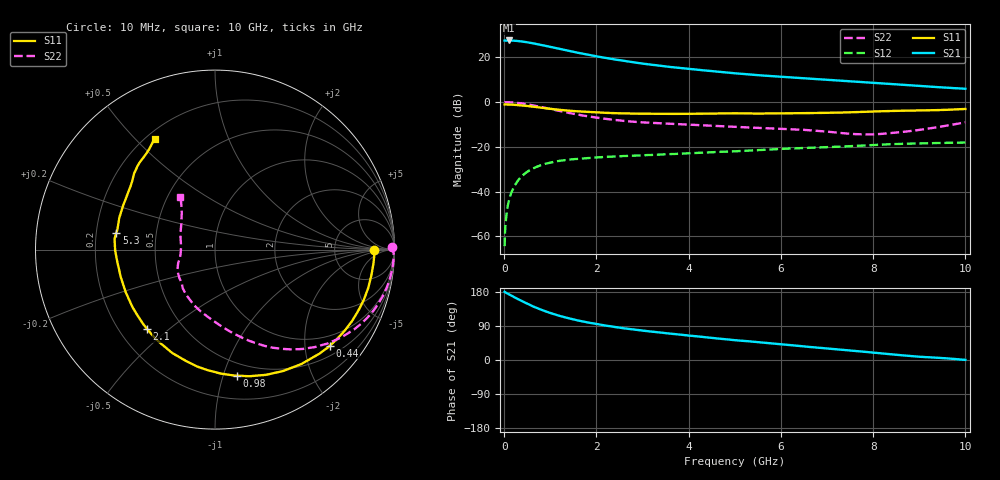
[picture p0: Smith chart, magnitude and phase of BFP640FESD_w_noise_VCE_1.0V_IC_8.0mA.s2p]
! Infineon Technologies  Discrete & RF Semiconductors
! BFP640FESD
! VCE =  1.0 V,  IC =  8.0 mA
! Common Emitter S-Parameters:  Jan 2016
# GHz  S  MA  R  50
!  f  S11  S21  S12  S22
! GHz  MAG  ANG  MAG  ANG  MAG  ANG  MAG  ANG
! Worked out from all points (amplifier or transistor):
!   233 points, 10 MHz to 10 GHz, reference 50 ohm
!   highest |S21| = 27.6 dB at 100 MHz (marker M1)
!   |S21| within 3 dB of that: start of sweep to 1.03 GHz
!   unconditionally stable (mu >= 1): 5.388 GHz to end of sweep
!   at 200 MHz: K = 0.03, MSG = 33.0 dB, |S12| = -38.5 dB
!   at 1.74 GHz: K = 0.42, MSG = 23.3 dB, |S12| = -25.1 dB
!   at 10 GHz: K = 1.18, MAG = 9.5 dB, |S12| = -18.1 dB
!   lowest NFmin = 0.62 dB at 450 MHz
!   S11 on the Smith chart (normalised r, x): 10 MHz: 16, -1; 440 MHz: 0.73, -2.57; 980 MHz: 0.39, -1.11; 2.1 GHz: 0.32, -0.42; 5.3 GHz: 0.29, +0.08; 10 GHz: 0.23, +0.57
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0.01  0.8859 -0.3  23.82 179.9  0.0006 66.0  0.9838 1.0
0.03  0.8875 -2.8  23.81 178.2  0.0019 89.5  0.9955 -1.8
0.1  0.8829 -9.3  23.98 173.9  0.0061 85.1  0.994 -6.2
0.2  0.8751 -18.6  23.78 167.1  0.0119 80.2  0.9804 -12.4
0.26  0.8663 -24.0  23.44 163.0  0.0154 77.3  0.9681 -16.0
0.44  0.8347 -39.9  22.3 152.0  0.0248 69.0  0.9161 -26.4
0.6  0.7984 -53.1  20.95 142.7  0.0319 62.6  0.8574 -34.8
0.7  0.7754 -60.8  20.04 137.6  0.0357 58.9  0.8187 -39.6
0.82  0.7479 -69.2  18.86 131.9  0.0396 55.0  0.7713 -44.9
0.98  0.7131 -80.0  17.42 125.0  0.0439 50.6  0.7104 -51.5
1.16  0.68 -90.8  15.88 118.0  0.0478 46.5  0.6476 -58.0
1.3  0.6594 -98.5  14.77 113.2  0.0503 43.8  0.6039 -62.7
1.52  0.63 -109.0  13.23 106.6  0.0532 40.5  0.5439 -69.3
1.68  0.6132 -115.9  12.25 102.3  0.055 38.5  0.5075 -73.7
2.1  0.5817 -130.5  10.16 93.0  0.0587 35.2  0.4364 -83.8
2.6  0.5603 -145.2  8.363 83.6  0.0623 32.6  0.38 -95.3
3.4  0.5466 -162.2  6.466 72.2  0.0672 31.4  0.3358 -108.8
5.1  0.561 172.7  4.338 51.4  0.0804 29.9  0.2775 -130.6
5.3  0.5577 170.5  4.168 49.4  0.0823 30.2  0.2713 -132.3
6.8  0.5724 150.4  3.256 32.5  0.0965 26.6  0.2269 -156.0
8.4  0.6351 132.8  2.552 14.9  0.115 21.7  0.204 160.3
10  0.7042 118.5  1.993 0.3  0.1248 14.1  0.3522 123.1
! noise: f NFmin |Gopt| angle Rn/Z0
0.45  0.62  0.3  5  0.11
2.4  0.72  0.16  61  0.1
5.5  0.97  0.33  156  0.07
10  1.69  0.47  -119  0.24
